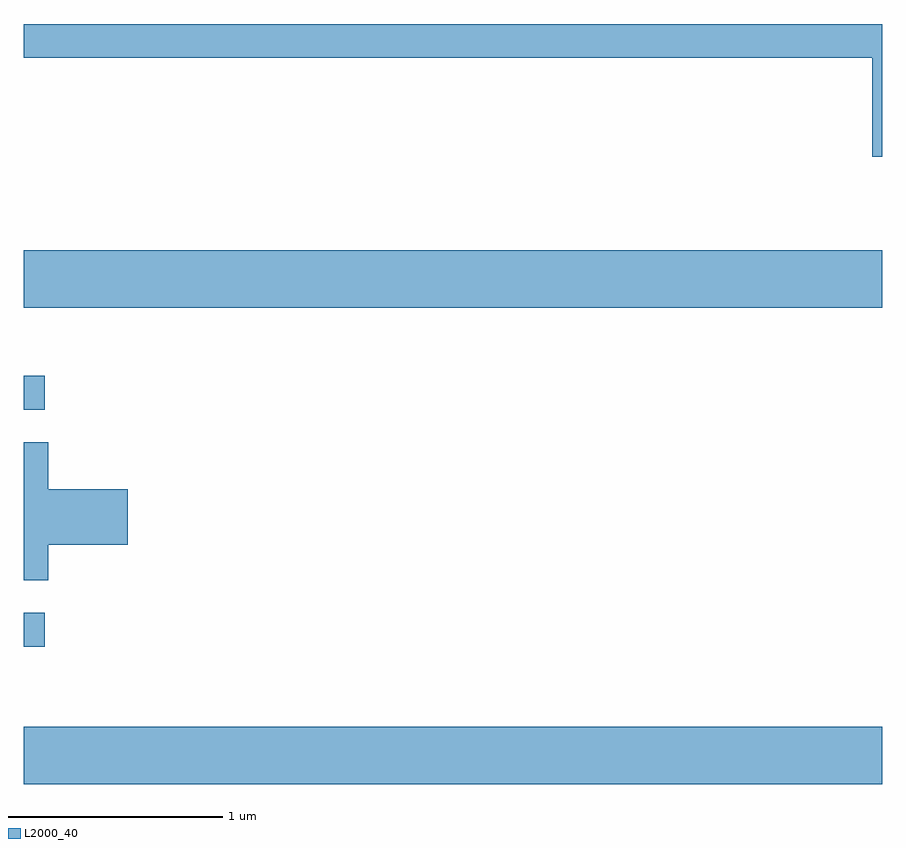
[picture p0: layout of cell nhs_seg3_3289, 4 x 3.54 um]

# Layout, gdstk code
import gdstk
lib = gdstk.Library(unit=1e-6, precision=1e-09)
def R(c, l, rs):  # rectangles x0, y0, x1, y1
    for r in rs: c.add(gdstk.rectangle(r[:2], r[2:], *l))
def P(c, l, *ps):  # polygons
    for p in ps: c.add(gdstk.Polygon(p, *l))
L2000_40 = (2000, 40)

nhs_seg3_3289 = lib.new_cell('nhs_seg3_3289')
R(nhs_seg3_3289, L2000_40, [(281.611,1165.976,285.611,1166.244), (281.611,1166.616,281.708,1166.774), (281.611,1167.721,281.708,1167.879), (281.611,1168.196,285.611,1168.464)])
P(nhs_seg3_3289, L2000_40, [(285.611,1169.519),(281.611,1169.519),(281.611,1169.361),(285.566,1169.361),(285.566,1168.901),(285.611,1168.901)],
  [(281.724,1167.091),(282.094,1167.091),(282.094,1167.349),(281.724,1167.349),(281.724,1167.569),(281.611,1167.569),(281.611,1166.926),(281.724,1166.926)])

lib.write_gds('nhs_seg3_3289.gds')
